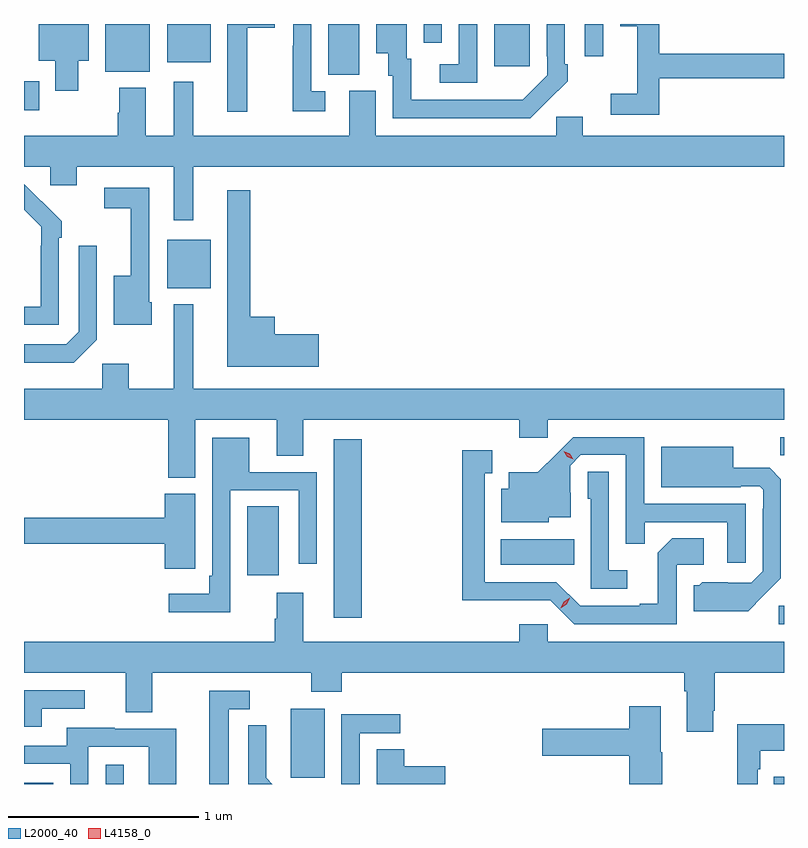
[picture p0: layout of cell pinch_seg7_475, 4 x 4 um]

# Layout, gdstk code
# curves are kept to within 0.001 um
import gdstk
lib = gdstk.Library(unit=1e-6, precision=1e-09)
def R(c, l, rs):  # rectangles x0, y0, x1, y1
    for r in rs: c.add(gdstk.rectangle(r[:2], r[2:], *l))
def P(c, l, *ps):  # polygons
    for p in ps: c.add(gdstk.Polygon(p, *l))
L2000_40 = (2000, 40)
L4158_0 = (4158, 0)

pinch_seg7_475 = lib.new_cell('pinch_seg7_475')
R(pinch_seg7_475, L2000_40, [(229.431,1069.295,229.584,1069.302), (229.86,1069.295,229.957,1069.396), (233.377,1069.295,233.431,1069.333), (230.834,1069.329,231.013,1069.69), (233.403,1070.136,233.431,1070.232), (231.062,1070.169,231.209,1071.109), (230.606,1070.394,230.773,1070.756), (231.941,1070.45,232.328,1070.584), (233.41,1071.025,233.431,1071.12), (230.186,1071.905,230.413,1072.159), (229.431,1072.841,229.51,1072.993), (231.032,1073.029,231.196,1073.295), (229.859,1073.045,230.092,1073.295), (231.905,1073.073,232.093,1073.295), (230.186,1073.093,230.413,1073.295), (232.383,1073.124,232.479,1073.295), (231.534,1073.196,231.63,1073.295)])
P(pinch_seg7_475, L2000_40, [(229.717,1073.102),(229.771,1073.102),(229.771,1073.295),(229.508,1073.295),(229.508,1073.102),(229.595,1073.102),(229.595,1072.944),(229.717,1072.944)],
  [(231.016,1072.941),(230.943,1072.941),(230.943,1073.295),(230.847,1073.295),(230.847,1073.18),(230.845,1073.18),(230.845,1072.836),(231.016,1072.836)],
  [(230.605,1073.276),(230.752,1073.276),(230.752,1073.295),(230.501,1073.295),(230.501,1072.833),(230.605,1072.833)],
  [(232.775,1073.01),(233.431,1073.01),(233.431,1073.138),(232.775,1073.138),(232.775,1073.295),(232.568,1073.295),(232.568,1073.282),(232.658,1073.282),(232.658,1072.927),(232.518,1072.927),(232.518,1072.818),(232.775,1072.818)],
  [(232.187,1072.891),(232.188,1072.89),(232.293,1072.995),(232.293,1073.083),(232.278,1073.083),(232.278,1073.295),(232.182,1073.295),(232.182,1073.125),(232.185,1073.125),(232.185,1073.025),(232.057,1072.897),(231.953,1072.896),(231.469,1072.896),(231.469,1073.112),(231.445,1073.112),(231.445,1073.295),(231.284,1073.295),(231.284,1073.141),(231.347,1073.141),(231.347,1073.022),(231.372,1073.022),(231.372,1072.8),(232.096,1072.8)],
  [(231.816,1073.295),(231.72,1073.295),(231.72,1073.082),(231.618,1073.082),(231.618,1072.986),(231.816,1072.986)],
  [(230.323,1072.544),(233.431,1072.544),(233.431,1072.708),(232.372,1072.708),(232.372,1072.806),(232.233,1072.806),(232.233,1072.708),(231.283,1072.708),(231.283,1072.944),(231.143,1072.944),(231.143,1072.708),(230.323,1072.708),(230.323,1072.99),(230.219,1072.99),(230.219,1072.708),(230.071,1072.708),(230.071,1072.96),(229.931,1072.96),(229.931,1072.829),(229.924,1072.829),(229.924,1072.708),(229.431,1072.708),(229.431,1072.544),(229.569,1072.544),(229.569,1072.446),(229.708,1072.446),(229.708,1072.544),(230.219,1072.544),(230.219,1072.263),(230.323,1072.263)],
  [(229.614,1072.169),(229.629,1072.169),(229.629,1072.257),(229.524,1072.362),(229.523,1072.361),(229.431,1072.452),(229.431,1072.318),(229.521,1072.227),(229.521,1072.127),(229.518,1072.127),(229.518,1071.807),(229.431,1071.807),(229.431,1071.711),(229.614,1071.711)],
  [(230.104,1071.831),(230.091,1071.831),(230.091,1072.434),(229.854,1072.434),(229.854,1072.326),(229.994,1072.326),(229.994,1071.97),(229.904,1071.97),(229.904,1071.713),(230.104,1071.713)],
  [(230.983,1071.662),(230.752,1071.662),(230.752,1071.754),(230.623,1071.754),(230.623,1072.42),(230.501,1072.42),(230.501,1071.491),(230.983,1071.491)],
  [(229.815,1071.633),(229.815,1072.129),(229.719,1072.129),(229.719,1071.675),(229.653,1071.609),(229.431,1071.609),(229.431,1071.512),(229.694,1071.512)],
  [(230.332,1071.212),(230.762,1071.212),(230.762,1071.022),(230.902,1071.022),(230.902,1071.212),(232.037,1071.212),(232.037,1071.117),(232.188,1071.117),(232.188,1071.212),(233.431,1071.212),(233.431,1071.376),(230.323,1071.376),(230.323,1071.82),(230.219,1071.82),(230.219,1071.376),(229.981,1071.376),(229.981,1071.508),(229.842,1071.508),(229.842,1071.376),(229.431,1071.376),(229.431,1071.212),(230.189,1071.212),(230.189,1070.908),(230.332,1070.908)],
  [(233.229,1070.769),(232.695,1070.769),(232.695,1071.12),(232.322,1071.12),(232.135,1070.935),(231.983,1070.935),(231.983,1070.848),(231.944,1070.848),(231.944,1070.672),(232.194,1070.672),(232.194,1070.699),(232.309,1070.699),(232.309,1070.828),(232.305,1070.828),(232.305,1070.97),(232.362,1071.027),(232.599,1071.027),(232.599,1070.56),(232.697,1070.56),(232.697,1070.673),(233.133,1070.673),(233.133,1070.46),(233.229,1070.46)],
  [(230.517,1070.841),(230.877,1070.841),(230.877,1070.454),(230.973,1070.454),(230.973,1070.937),(230.617,1070.937),(230.617,1071.118),(230.421,1071.118),(230.421,1070.392),(230.405,1070.392),(230.405,1070.296),(230.193,1070.296),(230.193,1070.198),(230.517,1070.198)],
  [(233.323,1070.285),(233.415,1070.378),(233.415,1070.9),(233.356,1070.959),(233.164,1070.959),(233.164,1071.07),(232.784,1071.07),(232.784,1070.858),(233.204,1070.858),(233.204,1070.862),(233.304,1070.862),(233.322,1070.844),(233.322,1070.744),(233.319,1070.744),(233.319,1070.415),(233.259,1070.355),(233.002,1070.356),(232.986,1070.34),(232.955,1070.34),(232.955,1070.204),(233.243,1070.204)],
  [(232.866,1070.448),(233.008,1070.448),(233.008,1070.588),(232.843,1070.588),(232.767,1070.512),(232.767,1070.245),(232.673,1070.245),(232.673,1070.232),(232.359,1070.232),(232.233,1070.358),(231.856,1070.358),(231.856,1070.931),(231.895,1070.931),(231.895,1071.052),(231.738,1071.052),(231.738,1070.261),(232.2,1070.262),(232.326,1070.136),(232.866,1070.136)],
  [(232.606,1070.419),(232.509,1070.419),(232.509,1070.939),(232.398,1070.939),(232.398,1070.796),(232.413,1070.796),(232.413,1070.322),(232.606,1070.322)],
  [(230.331,1070.539),(230.332,1070.539),(230.332,1070.823),(230.171,1070.823),(230.171,1070.696),(229.431,1070.696),(229.431,1070.56),(230.171,1070.56),(230.171,1070.427),(230.331,1070.427)],
  [(233.059,1069.681),(233.067,1069.681),(233.067,1069.88),(233.431,1069.88),(233.431,1070.044),(232.188,1070.044),(232.188,1070.137),(232.037,1070.137),(232.037,1070.044),(230.902,1070.044),(230.902,1070.302),(230.762,1070.302),(230.762,1070.165),(230.75,1070.165),(230.75,1070.044),(229.431,1070.044),(229.431,1069.88),(229.967,1069.88),(229.967,1069.672),(230.107,1069.672),(230.107,1069.88),(230.944,1069.88),(230.944,1069.781),(231.104,1069.781),(231.104,1069.88),(232.907,1069.88),(232.907,1069.784),(232.919,1069.784),(232.919,1069.569),(233.059,1069.569)],
  [(229.525,1069.692),(229.75,1069.692),(229.75,1069.788),(229.431,1069.788),(229.431,1069.596),(229.525,1069.596)],
  [(230.509,1069.689),(230.62,1069.689),(230.62,1069.785),(230.405,1069.785),(230.405,1069.295),(230.509,1069.295)],
  [(232.791,1069.461),(232.783,1069.461),(232.783,1069.705),(232.616,1069.705),(232.616,1069.587),(232.158,1069.587),(232.158,1069.445),(232.616,1069.445),(232.616,1069.295),(232.791,1069.295)],
  [(231.198,1069.563),(231.412,1069.563),(231.412,1069.662),(231.102,1069.662),(231.102,1069.295),(231.198,1069.295)],
  [(233.292,1069.373),(233.305,1069.373),(233.305,1069.469),(233.431,1069.469),(233.431,1069.609),(233.184,1069.609),(233.184,1069.295),(233.292,1069.295)],
  [(230.705,1069.328),(230.705,1069.45),(230.706,1069.45),(230.706,1069.604),(230.61,1069.604),(230.61,1069.295),(230.738,1069.295)],
  [(229.77,1069.491),(230.088,1069.491),(230.088,1069.295),(230.233,1069.295),(230.233,1069.587),(229.909,1069.587),(229.909,1069.591),(229.655,1069.591),(229.655,1069.497),(229.431,1069.497),(229.431,1069.401),(229.674,1069.401),(229.674,1069.295),(229.77,1069.295)],
  [(231.649,1069.388),(231.431,1069.388),(231.431,1069.478),(231.287,1069.478),(231.287,1069.295),(231.649,1069.295)])
P(pinch_seg7_475, L4158_0, [(232.321,1071.003),(232.29,1071.018),(232.273,1071.047),(232.273,1071.047),(232.273,1071.047),(232.304,1071.032),(232.321,1071.003),(232.321,1071.003)],
  [(232.255,1070.221),(232.255,1070.222),(232.272,1070.254),(232.304,1070.274),(232.304,1070.274),(232.304,1070.273),(232.287,1070.241),(232.255,1070.221)])

lib.write_gds('pinch_seg7_475.gds')
